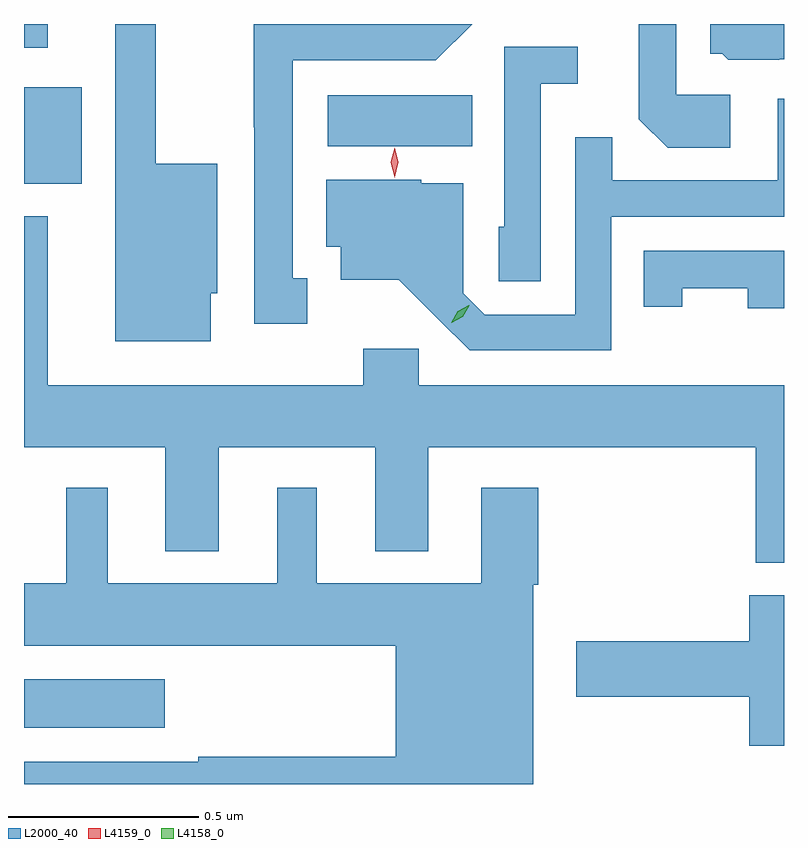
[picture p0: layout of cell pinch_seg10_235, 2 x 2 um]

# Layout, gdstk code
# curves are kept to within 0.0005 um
import gdstk
lib = gdstk.Library(unit=1e-6, precision=1e-09)
def R(c, l, rs):  # rectangles x0, y0, x1, y1
    for r in rs: c.add(gdstk.rectangle(r[:2], r[2:], *l))
def P(c, l, *ps):  # polygons
    for p in ps: c.add(gdstk.Polygon(p, *l))
L2000_40 = (2000, 40)
L4158_0 = (4158, 0)
L4159_0 = (4159, 0)

pinch_seg10_235 = lib.new_cell('pinch_seg10_235')
R(pinch_seg10_235, L2000_40, [(623.867,1294.25,624.238,1294.378), (623.867,1295.681,624.019,1295.935), (624.666,1295.78,625.046,1295.914), (623.867,1296.039,623.929,1296.102)])
P(pinch_seg10_235, L2000_40, [(624.613,1295.433),(624.574,1295.433),(624.574,1296.006),(624.951,1296.006),(625.047,1296.102),(624.471,1296.102),(624.471,1295.83),(624.473,1295.83),(624.473,1295.313),(624.613,1295.313)],
  [(625.726,1295.916),(625.584,1295.916),(625.584,1296.102),(625.485,1296.102),(625.485,1295.852),(625.561,1295.776),(625.726,1295.776)],
  [(624.358,1295.394),(624.376,1295.394),(624.376,1295.734),(624.214,1295.734),(624.214,1296.102),(624.107,1296.102),(624.107,1295.267),(624.358,1295.267)],
  [(625.854,1296.009),(625.867,1296.009),(625.867,1296.102),(625.673,1296.102),(625.673,1296.024),(625.704,1296.024),(625.72,1296.008),(625.854,1296.008)],
  [(625.227,1295.945),(625.324,1295.945),(625.324,1296.042),(625.131,1296.042),(625.131,1295.568),(625.116,1295.568),(625.116,1295.425),(625.227,1295.425)],
  [(625.413,1295.595),(625.867,1295.595),(625.867,1295.905),(625.851,1295.905),(625.851,1295.691),(625.415,1295.691),(625.415,1295.804),(625.317,1295.804),(625.317,1295.337),(625.08,1295.337),(625.023,1295.394),(625.023,1295.683),(624.912,1295.683),(624.912,1295.692),(624.662,1295.692),(624.662,1295.516),(624.701,1295.516),(624.701,1295.429),(624.853,1295.429),(625.04,1295.244),(625.413,1295.244)],
  [(625.867,1295.152),(624.906,1295.152),(624.906,1295.248),(624.76,1295.248),(624.76,1295.152),(623.929,1295.152),(623.929,1295.596),(623.867,1295.596),(623.867,1294.988),(624.239,1294.988),(624.239,1294.715),(624.379,1294.715),(624.379,1294.988),(624.791,1294.988),(624.791,1294.715),(624.931,1294.715),(624.931,1294.988),(625.793,1294.988),(625.793,1294.684),(625.867,1294.684)],
  [(625.867,1295.505),(625.498,1295.505),(625.498,1295.358),(625.599,1295.358),(625.599,1295.407),(625.772,1295.407),(625.772,1295.354),(625.867,1295.354)],
  [(625.207,1294.626),(625.22,1294.626),(625.22,1294.882),(625.07,1294.882),(625.07,1294.63),(624.637,1294.63),(624.637,1294.882),(624.533,1294.882),(624.533,1294.63),(624.088,1294.63),(624.088,1294.882),(623.978,1294.882),(623.978,1294.63),(623.867,1294.63),(623.867,1294.466),(624.845,1294.466),(624.845,1294.174),(624.325,1294.174),(624.325,1294.161),(623.867,1294.161),(623.867,1294.102),(625.207,1294.102)],
  [(625.867,1294.599),(625.775,1294.599),(625.775,1294.478),(625.32,1294.478),(625.32,1294.331),(625.775,1294.331),(625.775,1294.203),(625.867,1294.203)])
P(pinch_seg10_235, L4158_0, [(624.991,1295.316),(624.991,1295.316),(625.008,1295.346),(625.038,1295.362),(625.039,1295.362),(625.039,1295.361),(625.022,1295.332),(624.992,1295.316)])
P(pinch_seg10_235, L4159_0, [(624.842,1295.698),(624.842,1295.699),(624.832,1295.738),(624.842,1295.777),(624.842,1295.777),(624.842,1295.777),(624.852,1295.738),(624.842,1295.699)])

lib.write_gds('pinch_seg10_235.gds')
